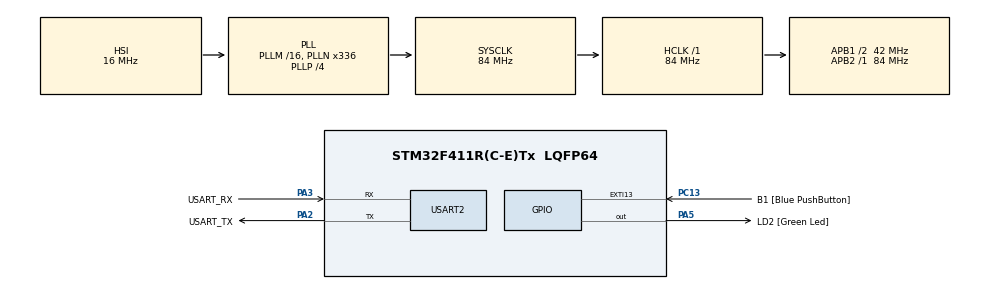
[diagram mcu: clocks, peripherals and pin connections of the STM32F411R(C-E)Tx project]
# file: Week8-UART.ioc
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Mcu.Family=STM32F4
Mcu.Name=STM32F411R(C-E)Tx
Mcu.Package=LQFP64
NVIC.PriorityGroup=NVIC_PRIORITYGROUP_0
NVIC.USART2_IRQn=true\:0\:0\:false\:false\:true\:true\:true
PA13.GPIO_Label=TMS
PA13.Mode=Serial_Wire
PA13.Signal=SYS_JTMS-SWDIO
PA14.GPIO_Label=TCK
PA14.Mode=Serial_Wire
PA14.Signal=SYS_JTCK-SWCLK
PA2.GPIO_Label=USART_TX
PA2.Mode=Asynchronous
PA2.Signal=USART2_TX
PA3.GPIO_Label=USART_RX
PA3.Mode=Asynchronous
PA3.Signal=USART2_RX
PA5.GPIO_Label=LD2 [Green Led]
PA5.Signal=GPIO_Output
PB3.GPIO_Label=SWO
PB3.Signal=SYS_JTDO-SWO
PC13-ANTI_TAMP.GPIO_Label=B1 [Blue PushButton]
PC13-ANTI_TAMP.GPIO_ModeDefaultEXTI=GPIO_MODE_IT_FALLING
PC13-ANTI_TAMP.Signal=GPXTI13
PC14-OSC32_IN.Mode=LSE-External-Oscillator
PC14-OSC32_IN.Signal=RCC_OSC32_IN
PC15-OSC32_OUT.Mode=LSE-External-Oscillator
PC15-OSC32_OUT.Signal=RCC_OSC32_OUT
PH0\ -\ OSC_IN.Mode=HSE-External-Clock-Source
PH0\ -\ OSC_IN.Signal=RCC_OSC_IN
PH1\ -\ OSC_OUT.Mode=HSE-External-Clock-Source
PH1\ -\ OSC_OUT.Signal=RCC_OSC_OUT
ProjectManager.HeapSize=0x200
ProjectManager.StackSize=0x400
ProjectManager.TargetToolchain=STM32CubeIDE
RCC.48MHZClocksFreq_Value=84000000
RCC.AHBFreq_Value=84000000
RCC.APB1CLKDivider=RCC_HCLK_DIV2
RCC.APB1Freq_Value=42000000
RCC.APB1TimFreq_Value=84000000
RCC.APB2Freq_Value=84000000
RCC.APB2TimFreq_Value=84000000
RCC.CortexFreq_Value=84000000
RCC.FLatency-AdvancedSettings=FLASH_LATENCY_2
RCC.HCLKFreq_Value=84000000
RCC.HSE_VALUE=8000000
RCC.HSI_VALUE=16000000
RCC.PLLN=336
RCC.PLLP=RCC_PLLP_DIV4
RCC.SYSCLKFreq_VALUE=84000000
RCC.SYSCLKSource=RCC_SYSCLKSOURCE_PLLCLK
RCC.VCOOutputFreq_Value=336000000
USART2.VirtualMode=VM_ASYNC
board=NUCLEO-F411RE

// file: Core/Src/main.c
/* USER CODE BEGIN Header */
/**
 ******************************************************************************
 * @file           : main.c
 * @brief          : Main program body
 ******************************************************************************
 * @attention
 *
 * <h2><center>&copy; Copyright (c) 2021 STMicroelectronics.
 * All rights reserved.</center></h2>
 *
 * This software component is licensed by ST under BSD 3-Clause license,
 * the "License"; You may not use this file except in compliance with the
 * License. You may obtain a copy of the License at:
 *                        opensource.org/licenses/BSD-3-Clause
 *
 ******************************************************************************
 */
/* USER CODE END Header */
#include "main.h"

/* USER CODE BEGIN Includes */
#include <stdio.h>
#include <string.h>
/* USER CODE END Includes */

UART_HandleTypeDef huart2;

/* USER CODE BEGIN PV */
char TxDataBuffer[32] = { 0 }; //output text
char RxDataBuffer[32] = { 0 }; //input char
int16_t Inputchar = 0;
uint8_t State = 000;
uint64_t Timestamp_LED = 0;
int Freq_LED = 1;
uint16_t Timedelay_LED = 0;
uint8_t Switch[2] = {0};
int LED_mode = 0;
char Menu_Start[] = "0: LED Control\r\n1: Button status\r\n";
char Menu_LED[] = "a: Speed up\r\ns: Speed Down\r\nd: On/Off\r\nx: Back\r\n";
char Menu_Button[] = "x: Back\r\nButton status:\r\n";
char Buttonpress[] = "Button Press\r\n";
char Buttonunpress[] = "Button Unpress\r\n";
char WrongInput[] = "Wrong input... Try again\r\n";
char LED_Freq[20] = "";
char LED_On[] = "LED On\r\n";
char LED_Off[] = "LED Off\r\n";
/* USER CODE END PV */

void SystemClock_Config(void);
static void MX_GPIO_Init(void);
static void MX_USART2_UART_Init(void);
/* USER CODE BEGIN PFP */
int16_t UARTRecieveIT();
/* USER CODE END PFP */

int main(void)
{

  /* MCU Configuration--------------------------------------------------------*/

  /* Reset of all peripherals, Initializes the Flash interface and the Systick. */
  HAL_Init();

  /* Configure the system clock */
  SystemClock_Config();

  /* Initialize all configured peripherals */
  MX_GPIO_Init();
  MX_USART2_UART_Init();

  /* Infinite loop */
  /* USER CODE BEGIN WHILE */
	while (1)
	{
		HAL_UART_Receive_IT(&huart2, (uint8_t*)RxDataBuffer, 32);
		Inputchar = UARTRecieveIT();
		Switch[0] = HAL_GPIO_ReadPin(GPIOC, GPIO_PIN_13);
		if(Inputchar > 0) // != Null
		{
			sprintf(TxDataBuffer,"Input: %c\r\n",Inputchar);
			HAL_UART_Transmit(&huart2, (uint8_t*)TxDataBuffer, strlen(TxDataBuffer), 10);
		}
		switch(State)
		{
			case 000: //Start state
				HAL_UART_Transmit(&huart2, (uint8_t*)Menu_Start, strlen(Menu_Start), 10);
				State = 001;
				break;
			case 001: //Choose mode
				if(Inputchar == '0')
				{
					State = 010;
				}
				else if(Inputchar == '1')
				{
					State = 011;
				}
				else if(Inputchar > 0)
				{
					HAL_UART_Transmit(&huart2, (uint8_t*)WrongInput, strlen(WrongInput), 10);
					State = 000;
				}
				break;
			case 010: //Led state
				HAL_UART_Transmit(&huart2, (uint8_t*)Menu_LED, strlen(Menu_LED), 10);
				State = 100;
				break;
			case 100: //Led control
				if(Inputchar == 'a')
				{
					Freq_LED = Freq_LED + 1;
					sprintf(LED_Freq,"Frequency: %d\r\n",Freq_LED);
					HAL_UART_Transmit(&huart2, (uint8_t*)LED_Freq, strlen(LED_Freq), 10);
					State = 010;
				}
				else if(Inputchar == 's')
				{
					Freq_LED = Freq_LED - 1;
					if(Freq_LED < 0)
					{
						Freq_LED = 0;
					}
					sprintf(LED_Freq,"Frequency: %d\r\n",Freq_LED);
					HAL_UART_Transmit(&huart2, (uint8_t*)LED_Freq, strlen(LED_Freq), 10);
					State = 010;
				}
				else if(Inputchar == 'd')
				{
					if(LED_mode == 1) //LED off
					{
						LED_mode = 0;
						HAL_UART_Transmit(&huart2, (uint8_t*)LED_Off, strlen(LED_Off), 10);
						HAL_GPIO_WritePin(GPIOA, GPIO_PIN_5, 0);
					}
					else if(LED_mode == 0)
					{
						LED_mode = 1;
						HAL_UART_Transmit(&huart2, (uint8_t*)LED_On, strlen(LED_On), 10);
					}
					State = 010;
				}
				else if(Inputchar == 'x')
				{
					State = 000;
				}
				else if(Inputchar > 0)
				{
					HAL_UART_Transmit(&huart2, (uint8_t*)WrongInput, strlen(WrongInput), 10);
					State = 010;
				}
				break;
			case 011: // Button menu
				HAL_UART_Transmit(&huart2, (uint8_t*)Menu_Button, strlen(Menu_Button), 10);
				State = 101;
				break;
			case 101: //Button status
				if(Switch[0] == 0 && Switch[1] == 1) //press
				{
					HAL_UART_Transmit(&huart2, (uint8_t*)Buttonpress, strlen(Buttonpress), 10);
				}
				else if(Switch[0] == 1 && Switch[1] == 0) //unpress
				{
					HAL_UART_Transmit(&huart2, (uint8_t*)Buttonunpress, strlen(Buttonunpress), 10);
				}
				if(Inputchar == 'x')
				{
					State = 000;
				}
				else if(Inputchar > 0)
				{
					HAL_UART_Transmit(&huart2, (uint8_t*)WrongInput, strlen(WrongInput), 10);
					State = 011;
				}
				break;
		}

		Switch[1] = Switch[0];

		if(LED_mode == 1)
		{
			Timedelay_LED = 500/Freq_LED;
			if(HAL_GetTick() - Timestamp_LED > Timedelay_LED)
			{
				Timestamp_LED = HAL_GetTick();
				HAL_GPIO_TogglePin(GPIOA, GPIO_PIN_5);
			}
		}

    /* USER CODE END WHILE */

	}
}

void SystemClock_Config(void)
{
  RCC_OscInitTypeDef RCC_OscInitStruct = {0};
  RCC_ClkInitTypeDef RCC_ClkInitStruct = {0};

  /** Configure the main internal regulator output voltage
  */
  __HAL_RCC_PWR_CLK_ENABLE();
  __HAL_PWR_VOLTAGESCALING_CONFIG(PWR_REGULATOR_VOLTAGE_SCALE1);
  /** Initializes the RCC Oscillators according to the specified parameters
  * in the RCC_OscInitTypeDef structure.
  */
  RCC_OscInitStruct.OscillatorType = RCC_OSCILLATORTYPE_HSI;
  RCC_OscInitStruct.HSIState = RCC_HSI_ON;
  RCC_OscInitStruct.HSICalibrationValue = RCC_HSICALIBRATION_DEFAULT;
  RCC_OscInitStruct.PLL.PLLState = RCC_PLL_ON;
  RCC_OscInitStruct.PLL.PLLSource = RCC_PLLSOURCE_HSI;
  RCC_OscInitStruct.PLL.PLLM = 16;
  RCC_OscInitStruct.PLL.PLLN = 336;
  RCC_OscInitStruct.PLL.PLLP = RCC_PLLP_DIV4;
  RCC_OscInitStruct.PLL.PLLQ = 4;
  if (HAL_RCC_OscConfig(&RCC_OscInitStruct) != HAL_OK)
  {
    Error_Handler();
  }
  /** Initializes the CPU, AHB and APB buses clocks
  */
  RCC_ClkInitStruct.ClockType = RCC_CLOCKTYPE_HCLK|RCC_CLOCKTYPE_SYSCLK
                              |RCC_CLOCKTYPE_PCLK1|RCC_CLOCKTYPE_PCLK2;
  RCC_ClkInitStruct.SYSCLKSource = RCC_SYSCLKSOURCE_PLLCLK;
  RCC_ClkInitStruct.AHBCLKDivider = RCC_SYSCLK_DIV1;
  RCC_ClkInitStruct.APB1CLKDivider = RCC_HCLK_DIV2;
  RCC_ClkInitStruct.APB2CLKDivider = RCC_HCLK_DIV1;

  if (HAL_RCC_ClockConfig(&RCC_ClkInitStruct, FLASH_LATENCY_2) != HAL_OK)
  {
    Error_Handler();
  }
}

static void MX_USART2_UART_Init(void)
{

  huart2.Instance = USART2;
  huart2.Init.BaudRate = 115200;
  huart2.Init.WordLength = UART_WORDLENGTH_8B;
  huart2.Init.StopBits = UART_STOPBITS_1;
  huart2.Init.Parity = UART_PARITY_NONE;
  huart2.Init.Mode = UART_MODE_TX_RX;
  huart2.Init.HwFlowCtl = UART_HWCONTROL_NONE;
  huart2.Init.OverSampling = UART_OVERSAMPLING_16;
  if (HAL_UART_Init(&huart2) != HAL_OK)
  {
    Error_Handler();
  }

}

static void MX_GPIO_Init(void)
{
  GPIO_InitTypeDef GPIO_InitStruct = {0};

  /* GPIO Ports Clock Enable */
  __HAL_RCC_GPIOC_CLK_ENABLE();
  __HAL_RCC_GPIOH_CLK_ENABLE();
  __HAL_RCC_GPIOA_CLK_ENABLE();
  __HAL_RCC_GPIOB_CLK_ENABLE();

  /*Configure GPIO pin Output Level */
  HAL_GPIO_WritePin(LD2_GPIO_Port, LD2_Pin, GPIO_PIN_RESET);

  /*Configure GPIO pin : B1_Pin */
  GPIO_InitStruct.Pin = B1_Pin;
  GPIO_InitStruct.Mode = GPIO_MODE_IT_FALLING;
  GPIO_InitStruct.Pull = GPIO_NOPULL;
  HAL_GPIO_Init(B1_GPIO_Port, &GPIO_InitStruct);

  /*Configure GPIO pin : LD2_Pin */
  GPIO_InitStruct.Pin = LD2_Pin;
  GPIO_InitStruct.Mode = GPIO_MODE_OUTPUT_PP;
  GPIO_InitStruct.Pull = GPIO_NOPULL;
  GPIO_InitStruct.Speed = GPIO_SPEED_FREQ_LOW;
  HAL_GPIO_Init(LD2_GPIO_Port, &GPIO_InitStruct);

}

/* USER CODE BEGIN 4 */
int16_t UARTRecieveIT()
{
	static uint32_t dataPos =0;
	int16_t data=-1;
	if(huart2.RxXferSize - huart2.RxXferCount!=dataPos)
	{
		data=RxDataBuffer[dataPos];
		dataPos= (dataPos+1)%huart2.RxXferSize;
	}
	return data;
}

void HAL_UART_RxCpltCallback(UART_HandleTypeDef *huart)
{
	sprintf(TxDataBuffer, "Received:[%s]\r\n", RxDataBuffer);
	HAL_UART_Transmit(&huart2, (uint8_t*)TxDataBuffer, strlen(TxDataBuffer), 1000);
}
/* USER CODE END 4 */

void Error_Handler(void)
{
	__disable_irq();
	while (1)
	{
	}
}

/************************ (C) COPYRIGHT STMicroelectronics *****END OF FILE****/
